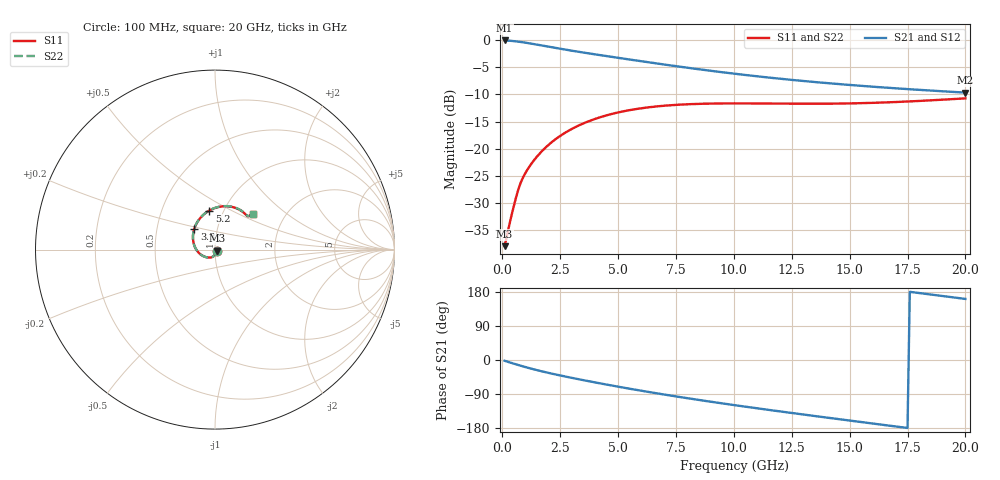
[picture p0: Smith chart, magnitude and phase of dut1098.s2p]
! Touchstone file exported from HFSS 2024.1.0
!  File:  C:/UserFiles/LocalFiles/RDL_TSV_Batchsim/temp_RDL_TSV_1098_1780099658.aedt
!  Generated:  08:18:18 AM May 30, 2026
!  Design:  RDL_TSV
!  Project:  temp_RDL_TSV_1098_1780099658
!  Setup:  Setup1
!  Solution:  Sweep
! Variables:
!  dtsv = 13.86um
!  hbump = 3um
!  htsv = 93.27um
!  ldown = 167.92um
!  lrdl = 509.43um
!  p = 40
!  p1 = 52.94um
!  rhole = 10um
!  subl = 2541.48um
!  t = 450um
!  tdown = 2.08um
!  trdl = 4.88um
!  viad = 10um
!  wdown = 16.56um
!  wrdl = 25.98um
!  xbump = 18um
# GHz S MA R 50.000000
! Terminal data exported
! Port[1] = TM1_1_T1
! Port[2] = TM1_4_T1
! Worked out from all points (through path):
!   200 points, 100 MHz to 20 GHz, reference 50 ohm
!   highest |S21| = -0.11 dB at 100 MHz (marker M1); lowest = -9.7 dB at 20 GHz (marker M2)
!   group delay of S21, straight-line fit = 25.9 ps
!   lowest |S11| = -37.9 dB at 100 MHz (marker M3), VSWR 1.03, Z = 51.1 - j0.654 ohm
!   |S11| at or under -10 dB: start of sweep to end of sweep
!   |S22| runs from -37.9 to -10.7 dB; largest |S21 - S12| = 8.3e-15
!   S11 on the Smith chart (normalised r, x): 100 MHz: 1.02, -0.01; 3.3 GHz: 0.77, +0.18; 5.2 GHz: 0.86, +0.39; 20 GHz: 1.38, +0.60
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0.1  0.01274 -30.1  0.9878 -2.0  0.9878 -2.0  0.01274 -30.1
! Gamma 0 0 0 0
! Port Impedance 50 0 50 0
0.4  0.02456 -81.6  0.9788 -7.9  0.9788 -7.9  0.02466 -81.7
0.6  0.03609 -99.8  0.969 -11.6  0.969 -11.6  0.03614 -100.2
0.7  0.04276 -108.6  0.9632 -13.5  0.9632 -13.5  0.04262 -109.0
0.9  0.0547 -125.7  0.95 -17.0  0.95 -17.0  0.05451 -125.7
1.1  0.06501 -139.6  0.9354 -20.4  0.9354 -20.4  0.06495 -139.5
1.5  0.08483 -161.7  0.9039 -26.8  0.9039 -26.8  0.08488 -161.7
2  0.1087 176.1  0.8647 -34.1  0.8647 -34.1  0.1089 176.1
2.6  0.1355 154.7  0.8215 -42.1  0.8215 -42.1  0.1357 154.7
3.3  0.1636 134.9  0.7767 -50.8  0.7767 -50.8  0.1639 134.9
3.5  0.1709 130.1  0.7648 -53.2  0.7648 -53.2  0.1712 130.0
4.3  0.1969 113.2  0.7202 -62.5  0.7202 -62.5  0.1974 113.2
5.2  0.2201 98.2  0.6743 -72.6  0.6743 -72.6  0.2206 98.2
6.8  0.2464 78.5  0.6018 -89.2  0.6018 -89.2  0.2471 78.5
8.4  0.2581 65.0  0.5403 -104.6  0.5403 -104.6  0.259 65.0
10.1  0.261 55.5  0.4868 -119.8  0.4868 -119.8  0.262 55.5
11.7  0.26 49.9  0.4463 -133.3  0.4463 -133.3  0.261 49.9
13.4  0.259 46.6  0.4117 -147.1  0.4117 -147.1  0.26 46.6
15  0.2609 45.2  0.3854 -159.8  0.3854 -159.8  0.2619 45.2
16.7  0.2671 44.7  0.3625 -173.1  0.3625 -173.1  0.268 44.6
18.3  0.2769 44.3  0.3444 174.4  0.3444 174.4  0.2778 44.2
20  0.2903 43.6  0.3279 161.2  0.3279 161.2  0.2912 43.5
